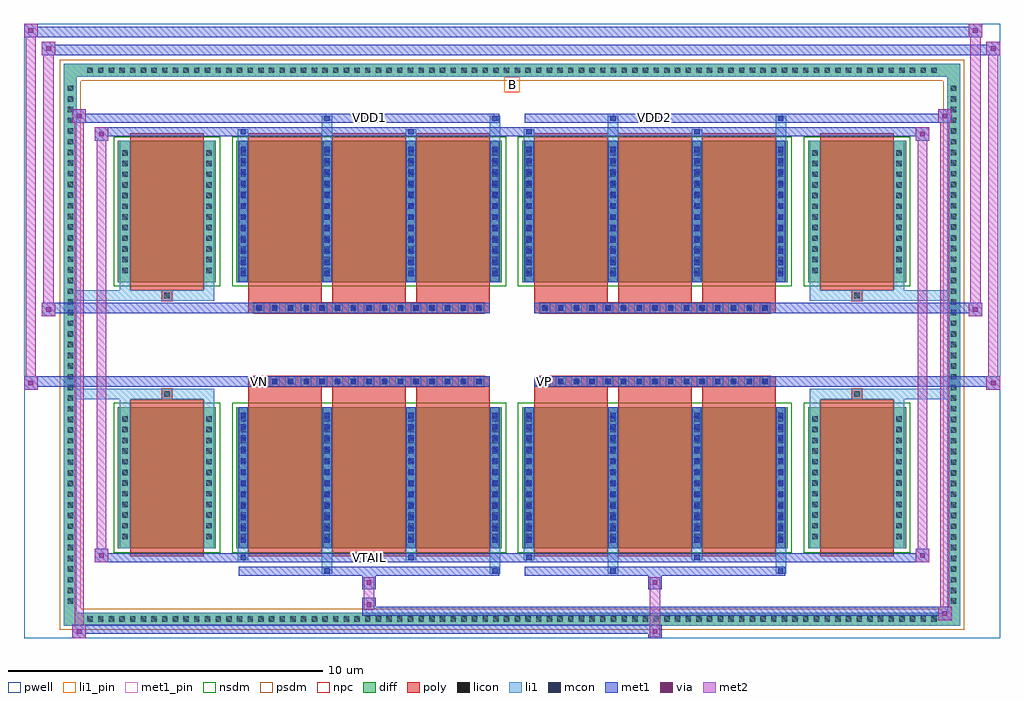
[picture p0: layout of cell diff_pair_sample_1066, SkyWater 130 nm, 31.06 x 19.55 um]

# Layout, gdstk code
import gdstk
lib = gdstk.Library(unit=1e-6, precision=5e-09)
def R(c, l, rs):  # rectangles x0, y0, x1, y1
    for r in rs: c.add(gdstk.rectangle(r[:2], r[2:], *l))
def A(c, l, x, y, w, h, nx, ny, dx, dy):  # array of equal rectangles
    R(c, l, [(x+i*dx, y+j*dy, x+i*dx+w, y+j*dy+h) for i in range(nx) for j in range(ny)])
def P(c, l, *ps):  # polygons
    for p in ps: c.add(gdstk.Polygon(p, *l))
pwell = (64, 44)
diff = (65, 20)
poly = (66, 20)
licon = (66, 44)
li1_pin = (67, 16)
li1 = (67, 20)
mcon = (67, 44)
met1_pin = (68, 16)
met1 = (68, 20)
via = (68, 44)
met2 = (69, 20)
nsdm = (93, 44)
psdm = (94, 20)
npc = (95, 20)

diff_pair_sample_1066 = lib.new_cell('diff_pair_sample_1066')
R(diff_pair_sample_1066, pwell, [(-15.53,-9.34,15.53,10.21), (-12.85,-7.53,-0.01,-0.805), (0.01,-7.53,12.85,-0.805), (-12.85,0.805,-0.01,7.53), (0.01,0.805,12.85,7.53)])
A(diff_pair_sample_1066, diff, -13.635, -8.94, 0.41, 0.41, 80, 2, 0.34, 17.47)
A(diff_pair_sample_1066, diff, -14.26, -8.365, 0.41, 0.41, 1, 49, 0, 0.34)
A(diff_pair_sample_1066, diff, 13.85, -8.365, 0.41, 0.41, 1, 49, 0, 0.34)
R(diff_pair_sample_1066, diff, [(-13.635,-8.94,13.635,-8.53), (-14.26,-8.365,-13.85,8.365), (13.85,-8.365,14.26,8.365), (-12.54,-6.485,-9.42,-1.985), (-8.78,-6.485,-0.32,-1.985), (0.32,-6.485,8.78,-1.985), (9.42,-6.485,12.54,-1.985), (-12.54,1.985,-9.42,6.485), (-8.78,1.985,-0.32,6.485), (0.32,1.985,8.78,6.485), (9.42,1.985,12.54,6.485), (-13.635,8.53,13.635,8.94)])
P(diff_pair_sample_1066, diff, [(14.26,8.94),(-14.26,8.94),(-14.26,-8.53),(-13.85,-8.53),(-13.85,8.53),(13.85,8.53),(13.85,-8.53),(-13.85,-8.53),(-14.26,-8.53),(-14.26,-8.94),(14.26,-8.94)])
A(diff_pair_sample_1066, poly, -8.39, -6.735, 2.34, 5, 3, 2, 2.67, 8.47)
A(diff_pair_sample_1066, poly, 0.71, -6.735, 2.34, 5, 3, 2, 2.67, 8.47)
A(diff_pair_sample_1066, poly, -8.39, -1.735, 2.34, 0.4, 3, 2, 2.67, 3.07)
A(diff_pair_sample_1066, poly, 0.71, -1.735, 2.34, 0.4, 3, 2, 2.67, 3.07)
A(diff_pair_sample_1066, poly, -8.215, -1.335, 0.33, 0.33, 15, 2, 0.5, 2.34)
A(diff_pair_sample_1066, poly, 0.885, -1.335, 0.33, 0.33, 15, 2, 0.5, 2.34)
R(diff_pair_sample_1066, poly, [(-12.15,-6.735,-9.81,-1.735), (9.81,-6.735,12.15,-1.735), (-11.145,-1.735,-10.815,-1.405), (-11.145,-1.735,-10.815,-1.405), (10.815,-1.735,11.145,-1.405), (10.815,-1.735,11.145,-1.405), (-8.39,-1.335,-0.71,-1.005), (0.71,-1.335,8.39,-1.005), (-8.39,1.005,-0.71,1.335), (0.71,1.005,8.39,1.335), (-11.145,1.405,-10.815,1.735), (-11.145,1.405,-10.815,1.735), (10.815,1.405,11.145,1.735), (10.815,1.405,11.145,1.735), (-12.15,1.735,-9.81,6.735), (9.81,1.735,12.15,6.735)])
A(diff_pair_sample_1066, licon, -13.515, -8.82, 0.17, 0.17, 80, 2, 0.34, 17.47)
A(diff_pair_sample_1066, licon, -14.14, -8.245, 0.17, 0.17, 1, 49, 0, 0.34)
A(diff_pair_sample_1066, licon, 13.97, -8.245, 0.17, 0.17, 1, 49, 0, 0.34)
A(diff_pair_sample_1066, licon, -12.4, -6.19, 0.17, 0.17, 1, 12, 0, 0.34)
A(diff_pair_sample_1066, licon, -9.73, -6.19, 0.17, 0.17, 1, 12, 0, 0.34)
A(diff_pair_sample_1066, licon, -8.64, -6.19, 0.17, 0.17, 4, 12, 2.67, 0.34)
A(diff_pair_sample_1066, licon, 0.46, -6.19, 0.17, 0.17, 4, 12, 2.67, 0.34)
A(diff_pair_sample_1066, licon, 9.56, -6.19, 0.17, 0.17, 1, 12, 0, 0.34)
A(diff_pair_sample_1066, licon, 12.23, -6.19, 0.17, 0.17, 1, 12, 0, 0.34)
A(diff_pair_sample_1066, licon, -8.135, -1.255, 0.17, 0.17, 15, 2, 0.5, 2.34)
A(diff_pair_sample_1066, licon, 0.965, -1.255, 0.17, 0.17, 15, 2, 0.5, 2.34)
A(diff_pair_sample_1066, licon, -12.4, 2.28, 0.17, 0.17, 1, 12, 0, 0.34)
A(diff_pair_sample_1066, licon, -9.73, 2.28, 0.17, 0.17, 1, 12, 0, 0.34)
A(diff_pair_sample_1066, licon, -8.64, 2.28, 0.17, 0.17, 4, 12, 2.67, 0.34)
A(diff_pair_sample_1066, licon, 0.46, 2.28, 0.17, 0.17, 4, 12, 2.67, 0.34)
A(diff_pair_sample_1066, licon, 9.56, 2.28, 0.17, 0.17, 1, 12, 0, 0.34)
A(diff_pair_sample_1066, licon, 12.23, 2.28, 0.17, 0.17, 1, 12, 0, 0.34)
R(diff_pair_sample_1066, licon, [(-11.065,-1.655,-10.895,-1.485), (10.895,-1.655,11.065,-1.485), (-11.065,1.485,-10.895,1.655), (10.895,1.485,11.065,1.655)])
R(diff_pair_sample_1066, li1_pin, [(-0.25,8.03,0.25,8.53)])
A(diff_pair_sample_1066, li1, -13.595, -8.9, 0.33, 0.33, 80, 2, 0.34, 17.47)
A(diff_pair_sample_1066, li1, -14.22, -8.325, 0.33, 0.33, 1, 49, 0, 0.34)
A(diff_pair_sample_1066, li1, 13.89, -8.325, 0.33, 0.33, 1, 49, 0, 0.34)
A(diff_pair_sample_1066, li1, -8.72, -6.485, 0.33, 4.5, 4, 2, 2.67, 8.47)
A(diff_pair_sample_1066, li1, 0.38, -6.485, 0.33, 4.5, 4, 2, 2.67, 8.47)
A(diff_pair_sample_1066, li1, -8.64, -6.3, 0.17, 0.17, 4, 12, 2.67, 0.36)
A(diff_pair_sample_1066, li1, -8.64, -6.3, 0.17, 4.13, 4, 2, 2.67, 8.47)
A(diff_pair_sample_1066, li1, 0.46, -6.3, 0.17, 0.17, 4, 12, 2.67, 0.36)
A(diff_pair_sample_1066, li1, 0.46, -6.3, 0.17, 4.13, 4, 2, 2.67, 8.47)
A(diff_pair_sample_1066, li1, -12.48, -6.27, 0.33, 0.33, 1, 12, 0, 0.34)
A(diff_pair_sample_1066, li1, -9.81, -6.27, 0.33, 0.33, 1, 12, 0, 0.34)
A(diff_pair_sample_1066, li1, -8.72, -6.27, 0.33, 0.33, 4, 12, 2.67, 0.34)
A(diff_pair_sample_1066, li1, 0.38, -6.27, 0.33, 0.33, 4, 12, 2.67, 0.34)
A(diff_pair_sample_1066, li1, 9.48, -6.27, 0.33, 0.33, 1, 12, 0, 0.34)
A(diff_pair_sample_1066, li1, 12.15, -6.27, 0.33, 0.33, 1, 12, 0, 0.34)
A(diff_pair_sample_1066, li1, -8.215, -1.335, 0.33, 0.33, 15, 2, 0.5, 2.34)
A(diff_pair_sample_1066, li1, 0.885, -1.335, 0.33, 0.33, 15, 2, 0.5, 2.34)
A(diff_pair_sample_1066, li1, -8.64, 2.17, 0.17, 0.17, 4, 12, 2.67, 0.36)
A(diff_pair_sample_1066, li1, 0.46, 2.17, 0.17, 0.17, 4, 12, 2.67, 0.36)
A(diff_pair_sample_1066, li1, -12.48, 2.2, 0.33, 0.33, 1, 12, 0, 0.34)
A(diff_pair_sample_1066, li1, -9.81, 2.2, 0.33, 0.33, 1, 12, 0, 0.34)
A(diff_pair_sample_1066, li1, -8.72, 2.2, 0.33, 0.33, 4, 12, 2.67, 0.34)
A(diff_pair_sample_1066, li1, 0.38, 2.2, 0.33, 0.33, 4, 12, 2.67, 0.34)
A(diff_pair_sample_1066, li1, 9.48, 2.2, 0.33, 0.33, 1, 12, 0, 0.34)
A(diff_pair_sample_1066, li1, 12.15, 2.2, 0.33, 0.33, 1, 12, 0, 0.34)
R(diff_pair_sample_1066, li1, [(-14.26,-8.94,-13.85,-8.53), (-14.26,-8.94,-13.85,-8.53), (-13.85,-8.94,13.85,-8.53), (13.85,-8.94,14.26,-8.53), (13.85,-8.94,14.26,-8.53), (-14.26,-8.53,-13.85,8.53), (13.85,-8.53,14.26,8.53), (-6.05,-7.29,-5.72,-6.485), (-5.97,-7.29,-5.8,-7.12), (-0.71,-7.29,-0.38,-6.485), (-0.63,-7.29,-0.46,-7.12), (3.05,-7.29,3.38,-6.485), (3.13,-7.29,3.3,-7.12), (8.39,-7.29,8.72,-6.485), (8.47,-7.29,8.64,-7.12), (-8.72,-6.86,-8.39,-6.485), (-8.64,-6.86,-8.47,-6.69), (-3.38,-6.86,-3.05,-6.485), (-3.3,-6.86,-3.13,-6.69), (0.38,-6.86,0.71,-6.485), (0.46,-6.86,0.63,-6.69), (5.72,-6.86,6.05,-6.485), (5.8,-6.86,5.97,-6.69), (-12.48,-6.485,-12.15,-1.985), (-9.81,-6.485,-9.48,-1.985), (9.48,-6.485,9.81,-1.985), (12.15,-6.485,12.48,-1.985), (-12.48,-1.985,-12.15,-1.405), (-9.81,-1.985,-9.48,-1.405), (9.48,-1.985,9.81,-1.405), (12.15,-1.985,12.48,-1.405), (-14.26,-1.735,-11.145,-1.405), (-12.48,-1.735,-11.145,-1.405), (-11.145,-1.735,-10.815,-1.405), (-10.815,-1.735,-9.48,-1.405), (9.48,-1.735,10.815,-1.405), (10.815,-1.735,11.145,-1.405), (10.815,-1.735,14.26,-1.405), (11.145,-1.735,12.48,-1.405), (-14.26,1.405,-11.145,1.735), (-12.48,1.405,-11.145,1.735), (-12.48,1.405,-12.15,1.985), (-11.145,1.405,-10.815,1.735), (-10.815,1.405,-9.48,1.735), (-9.81,1.405,-9.48,1.985), (9.48,1.405,10.815,1.735), (9.48,1.405,9.81,1.985), (10.815,1.405,11.145,1.735), (10.815,1.405,14.26,1.735), (11.145,1.405,12.48,1.735), (12.15,1.405,12.48,1.985), (-12.48,1.985,-12.15,6.485), (-9.81,1.985,-9.48,6.485), (9.48,1.985,9.81,6.485), (12.15,1.985,12.48,6.485), (-8.72,6.485,-8.39,6.86), (-6.05,6.485,-5.72,7.29), (-3.38,6.485,-3.05,6.86), (-0.71,6.485,-0.38,7.29), (0.38,6.485,0.71,6.86), (3.05,6.485,3.38,7.29), (5.72,6.485,6.05,6.86), (8.39,6.485,8.72,7.29), (-8.64,6.69,-8.47,6.86), (-3.3,6.69,-3.13,6.86), (0.46,6.69,0.63,6.86), (5.8,6.69,5.97,6.86), (-5.97,7.12,-5.8,7.29), (-0.63,7.12,-0.46,7.29), (3.13,7.12,3.3,7.29), (8.47,7.12,8.64,7.29), (-14.26,8.53,-13.85,8.94), (-14.26,8.53,-13.85,8.94), (-13.85,8.53,13.85,8.94), (13.85,8.53,14.26,8.94), (13.85,8.53,14.26,8.94)])
A(diff_pair_sample_1066, mcon, -8.64, -6.3, 0.17, 0.17, 4, 12, 2.67, 0.36)
A(diff_pair_sample_1066, mcon, 0.46, -6.3, 0.17, 0.17, 4, 12, 2.67, 0.36)
A(diff_pair_sample_1066, mcon, -8.135, -1.255, 0.17, 0.17, 15, 2, 0.5, 2.34)
A(diff_pair_sample_1066, mcon, 0.965, -1.255, 0.17, 0.17, 15, 2, 0.5, 2.34)
A(diff_pair_sample_1066, mcon, -8.64, 2.17, 0.17, 0.17, 4, 12, 2.67, 0.36)
A(diff_pair_sample_1066, mcon, 0.46, 2.17, 0.17, 0.17, 4, 12, 2.67, 0.36)
R(diff_pair_sample_1066, mcon, [(-5.97,-7.29,-5.8,-7.12), (-0.63,-7.29,-0.46,-7.12), (3.13,-7.29,3.3,-7.12), (8.47,-7.29,8.64,-7.12), (-8.64,-6.86,-8.47,-6.69), (-3.3,-6.86,-3.13,-6.69), (0.46,-6.86,0.63,-6.69), (5.8,-6.86,5.97,-6.69), (-8.64,6.69,-8.47,6.86), (-3.3,6.69,-3.13,6.86), (0.46,6.69,0.63,6.86), (5.8,6.69,5.97,6.86), (-5.97,7.12,-5.8,7.29), (-0.63,7.12,-0.46,7.29), (3.13,7.12,3.3,7.29), (8.47,7.12,8.64,7.29)])
R(diff_pair_sample_1066, met1_pin, [(-4.685,-6.9,-4.415,-6.63), (-8.185,-1.295,-7.915,-1.025), (0.915,-1.295,1.185,-1.025), (-4.685,7.08,-4.415,7.35), (4.415,7.08,4.685,7.35)])
A(diff_pair_sample_1066, met1, -8.7, -6.485, 0.29, 4.5, 4, 2, 2.67, 8.47)
A(diff_pair_sample_1066, met1, 0.4, -6.485, 0.29, 4.5, 4, 2, 2.67, 8.47)
A(diff_pair_sample_1066, met1, -8.7, -6.36, 0.29, 0.29, 4, 12, 2.67, 0.36)
A(diff_pair_sample_1066, met1, 0.4, -6.36, 0.29, 0.29, 4, 12, 2.67, 0.36)
A(diff_pair_sample_1066, met1, -8.195, -1.315, 0.29, 0.29, 15, 2, 0.5, 2.34)
A(diff_pair_sample_1066, met1, 0.905, -1.315, 0.29, 0.29, 15, 2, 0.5, 2.34)
A(diff_pair_sample_1066, met1, -8.7, 2.11, 0.29, 0.29, 4, 12, 2.67, 0.36)
A(diff_pair_sample_1066, met1, 0.4, 2.11, 0.29, 0.29, 4, 12, 2.67, 0.36)
R(diff_pair_sample_1066, met1, [(-13.99,-9.34,-13.56,-8.91), (4.335,-9.34,4.765,-8.91), (-13.99,-9.2,4.765,-8.91), (13.56,-8.77,13.99,-8.34), (-4.765,-8.63,13.99,-8.34), (-4.765,-8.49,-4.335,-8.06), (-4.765,-7.78,-4.335,-7.35), (4.335,-7.78,4.765,-7.35), (-8.7,-7.35,-0.4,-7.06), (-6.03,-7.35,-5.74,-7.06), (-0.69,-7.35,-0.4,-7.06), (0.4,-7.35,8.7,-7.06), (3.07,-7.35,3.36,-7.06), (8.41,-7.35,8.7,-7.06), (-13.28,-6.92,-12.85,-6.49), (-13.28,-6.92,-8.7,-6.63), (-8.7,-6.92,-8.41,-6.63), (-8.7,-6.92,-0.4,-6.63), (-3.36,-6.92,-3.07,-6.63), (-0.4,-6.92,0.4,-6.63), (0.4,-6.92,0.69,-6.63), (0.4,-6.92,8.7,-6.63), (5.74,-6.92,6.03,-6.63), (8.7,-6.92,13.28,-6.63), (12.85,-6.92,13.28,-6.49), (-15.53,-1.435,-15.1,-1.005), (15.1,-1.435,15.53,-1.005), (-15.53,-1.335,-0.71,-1.005), (-8.39,-1.335,-0.71,-1.005), (0.71,-1.335,8.39,-1.005), (0.71,-1.335,15.53,-1.005), (-14.96,0.905,-14.53,1.335), (14.53,0.905,14.96,1.335), (-14.96,1.005,-8.39,1.335), (-8.39,1.005,-0.71,1.335), (0.71,1.005,8.39,1.335), (8.39,1.005,14.96,1.335), (-13.28,6.49,-12.85,6.92), (12.85,6.49,13.28,6.92), (-13.28,6.63,-8.7,6.92), (-8.7,6.63,-8.41,6.92), (-8.7,6.63,-0.4,6.92), (-3.36,6.63,-3.07,6.92), (-0.4,6.63,0.4,6.92), (0.4,6.63,0.69,6.92), (0.4,6.63,8.7,6.92), (5.74,6.63,6.03,6.92), (8.7,6.63,13.28,6.92), (-13.99,7.06,-13.56,7.49), (-13.99,7.06,-8.7,7.35), (-8.7,7.06,-0.4,7.35), (-6.03,7.06,-5.74,7.35), (-0.69,7.06,-0.4,7.35), (0.4,7.06,8.7,7.35), (3.07,7.06,3.36,7.35), (8.41,7.06,8.7,7.35), (8.7,7.06,13.99,7.35), (13.56,7.06,13.99,7.49), (-14.96,9.21,-14.53,9.64), (-14.96,9.21,-12.85,9.54), (-12.85,9.21,12.85,9.54), (12.85,9.21,15.53,9.54), (15.1,9.21,15.53,9.64), (-15.53,9.78,-15.1,10.21), (-15.53,9.78,-12.85,10.11), (-12.85,9.78,12.85,10.11), (12.85,9.78,14.96,10.11), (14.53,9.78,14.96,10.21)])
R(diff_pair_sample_1066, via, [(-13.85,-9.2,-13.7,-9.05), (4.475,-9.2,4.625,-9.05), (13.7,-8.63,13.85,-8.48), (-4.625,-8.35,-4.475,-8.2), (-4.625,-7.64,-4.475,-7.49), (4.475,-7.64,4.625,-7.49), (-13.14,-6.78,-12.99,-6.63), (12.99,-6.78,13.14,-6.63), (-15.39,-1.295,-15.24,-1.145), (15.24,-1.295,15.39,-1.145), (-14.82,1.045,-14.67,1.195), (14.67,1.045,14.82,1.195), (-13.14,6.63,-12.99,6.78), (12.99,6.63,13.14,6.78), (-13.85,7.2,-13.7,7.35), (13.7,7.2,13.85,7.35), (-14.82,9.35,-14.67,9.5), (15.24,9.35,15.39,9.5), (-15.39,9.92,-15.24,10.07), (14.67,9.92,14.82,10.07)])
R(diff_pair_sample_1066, met2, [(-13.99,-9.34,-13.56,-8.91), (-13.92,-9.34,-13.63,7.49), (-13.63,-9.34,-13.56,-8.91), (-13.94,-9.29,-13.61,-8.96), (4.385,-9.29,4.715,-8.96), (4.385,-8.96,4.715,-7.73), (13.56,-8.77,13.99,-8.34), (13.63,-8.77,13.92,7.49), (13.92,-8.77,13.99,-8.34), (13.61,-8.72,13.94,-8.39), (-4.715,-8.44,-4.385,-8.11), (-4.715,-8.11,-4.385,-7.73), (-4.715,-7.73,-4.385,-7.4), (4.385,-7.73,4.715,-7.4), (-13.28,-6.92,-12.85,-6.49), (-13.21,-6.92,-12.92,6.92), (-12.92,-6.92,-12.85,-6.49), (12.85,-6.92,13.28,-6.49), (12.92,-6.92,13.21,6.92), (13.21,-6.92,13.28,-6.49), (-13.23,-6.87,-12.9,-6.54), (12.9,-6.87,13.23,-6.54), (-15.53,-1.435,-15.1,-1.005), (-15.48,-1.435,-15.15,10.21), (-15.15,-1.435,-15.1,-1.005), (15.1,-1.435,15.53,-1.005), (15.15,-1.435,15.48,9.64), (15.48,-1.435,15.53,-1.005), (-15.48,-1.385,-15.15,-1.055), (15.15,-1.385,15.48,-1.055), (-14.96,0.905,-14.53,1.335), (-14.91,0.905,-14.58,9.64), (-14.58,0.905,-14.53,1.335), (14.53,0.905,14.96,1.335), (14.58,0.905,14.91,10.21), (14.91,0.905,14.96,1.335), (-14.91,0.955,-14.58,1.285), (14.58,0.955,14.91,1.285), (-13.28,6.49,-12.85,6.92), (-12.92,6.49,-12.85,6.92), (12.85,6.49,13.28,6.92), (13.21,6.49,13.28,6.92), (-13.23,6.54,-12.9,6.87), (12.9,6.54,13.23,6.87), (-13.99,7.06,-13.56,7.49), (-13.63,7.06,-13.56,7.49), (13.56,7.06,13.99,7.49), (13.92,7.06,13.99,7.49), (-13.94,7.11,-13.61,7.44), (13.61,7.11,13.94,7.44), (-14.96,9.21,-14.53,9.64), (-14.58,9.21,-14.53,9.64), (15.1,9.21,15.53,9.64), (15.48,9.21,15.53,9.64), (-14.91,9.26,-14.58,9.59), (15.15,9.26,15.48,9.59), (-15.53,9.78,-15.1,10.21), (-15.15,9.78,-15.1,10.21), (14.53,9.78,14.96,10.21), (14.91,9.78,14.96,10.21), (-15.48,9.83,-15.15,10.16), (14.58,9.83,14.91,10.16)])
R(diff_pair_sample_1066, nsdm, [(-12.67,-6.615,-9.29,-1.855), (-8.91,-6.615,-0.19,-1.855), (0.19,-6.615,8.91,-1.855), (9.29,-6.615,12.67,-1.855), (-12.67,1.855,-9.29,6.615), (-8.91,1.855,-0.19,6.615), (0.19,1.855,8.91,6.615), (9.29,1.855,12.67,6.615)])
P(diff_pair_sample_1066, psdm, [(14.39,9.07),(-14.39,9.07),(-14.39,-8.4),(-13.72,-8.4),(-13.72,8.4),(13.72,8.4),(13.72,-8.4),(-13.72,-8.4),(-14.39,-8.4),(-14.39,-9.07),(14.39,-9.07)])
A(diff_pair_sample_1066, npc, -8.235, -1.355, 0.37, 0.37, 15, 2, 0.5, 2.34)
A(diff_pair_sample_1066, npc, 0.865, -1.355, 0.37, 0.37, 15, 2, 0.5, 2.34)
R(diff_pair_sample_1066, npc, [(-11.165,-1.755,-10.795,-1.385), (10.795,-1.755,11.165,-1.385), (-8.235,-1.355,-7.365,-0.985), (-8.235,-1.355,-7.365,-0.985), (-7.735,-1.355,-6.865,-0.985), (-7.735,-1.355,-6.865,-0.985), (-7.235,-1.355,-6.365,-0.985), (-7.235,-1.355,-6.365,-0.985), (-6.735,-1.355,-5.865,-0.985), (-6.735,-1.355,-5.865,-0.985), (-6.235,-1.355,-5.365,-0.985), (-6.235,-1.355,-5.365,-0.985), (-5.735,-1.355,-4.865,-0.985), (-5.735,-1.355,-4.865,-0.985), (-5.235,-1.355,-4.365,-0.985), (-5.235,-1.355,-4.365,-0.985), (-4.735,-1.355,-3.865,-0.985), (-4.735,-1.355,-3.865,-0.985), (-4.235,-1.355,-3.365,-0.985), (-4.235,-1.355,-3.365,-0.985), (-3.735,-1.355,-2.865,-0.985), (-3.735,-1.355,-2.865,-0.985), (-3.235,-1.355,-2.365,-0.985), (-3.235,-1.355,-2.365,-0.985), (-2.735,-1.355,-1.865,-0.985), (-2.735,-1.355,-1.865,-0.985), (-2.235,-1.355,-1.365,-0.985), (-2.235,-1.355,-1.365,-0.985), (-1.735,-1.355,-0.865,-0.985), (-1.735,-1.355,-0.865,-0.985), (0.865,-1.355,1.735,-0.985), (0.865,-1.355,1.735,-0.985), (1.365,-1.355,2.235,-0.985), (1.365,-1.355,2.235,-0.985), (1.865,-1.355,2.735,-0.985), (1.865,-1.355,2.735,-0.985), (2.365,-1.355,3.235,-0.985), (2.365,-1.355,3.235,-0.985), (2.865,-1.355,3.735,-0.985), (2.865,-1.355,3.735,-0.985), (3.365,-1.355,4.235,-0.985), (3.365,-1.355,4.235,-0.985), (3.865,-1.355,4.735,-0.985), (3.865,-1.355,4.735,-0.985), (4.365,-1.355,5.235,-0.985), (4.365,-1.355,5.235,-0.985), (4.865,-1.355,5.735,-0.985), (4.865,-1.355,5.735,-0.985), (5.365,-1.355,6.235,-0.985), (5.365,-1.355,6.235,-0.985), (5.865,-1.355,6.735,-0.985), (5.865,-1.355,6.735,-0.985), (6.365,-1.355,7.235,-0.985), (6.365,-1.355,7.235,-0.985), (6.865,-1.355,7.735,-0.985), (6.865,-1.355,7.735,-0.985), (7.365,-1.355,8.235,-0.985), (7.365,-1.355,8.235,-0.985), (-8.235,0.985,-7.365,1.355), (-8.235,0.985,-7.365,1.355), (-7.735,0.985,-6.865,1.355), (-7.735,0.985,-6.865,1.355), (-7.235,0.985,-6.365,1.355), (-7.235,0.985,-6.365,1.355), (-6.735,0.985,-5.865,1.355), (-6.735,0.985,-5.865,1.355), (-6.235,0.985,-5.365,1.355), (-6.235,0.985,-5.365,1.355), (-5.735,0.985,-4.865,1.355), (-5.735,0.985,-4.865,1.355), (-5.235,0.985,-4.365,1.355), (-5.235,0.985,-4.365,1.355), (-4.735,0.985,-3.865,1.355), (-4.735,0.985,-3.865,1.355), (-4.235,0.985,-3.365,1.355), (-4.235,0.985,-3.365,1.355), (-3.735,0.985,-2.865,1.355), (-3.735,0.985,-2.865,1.355), (-3.235,0.985,-2.365,1.355), (-3.235,0.985,-2.365,1.355), (-2.735,0.985,-1.865,1.355), (-2.735,0.985,-1.865,1.355), (-2.235,0.985,-1.365,1.355), (-2.235,0.985,-1.365,1.355), (-1.735,0.985,-0.865,1.355), (-1.735,0.985,-0.865,1.355), (0.865,0.985,1.735,1.355), (0.865,0.985,1.735,1.355), (1.365,0.985,2.235,1.355), (1.365,0.985,2.235,1.355), (1.865,0.985,2.735,1.355), (1.865,0.985,2.735,1.355), (2.365,0.985,3.235,1.355), (2.365,0.985,3.235,1.355), (2.865,0.985,3.735,1.355), (2.865,0.985,3.735,1.355), (3.365,0.985,4.235,1.355), (3.365,0.985,4.235,1.355), (3.865,0.985,4.735,1.355), (3.865,0.985,4.735,1.355), (4.365,0.985,5.235,1.355), (4.365,0.985,5.235,1.355), (4.865,0.985,5.735,1.355), (4.865,0.985,5.735,1.355), (5.365,0.985,6.235,1.355), (5.365,0.985,6.235,1.355), (5.865,0.985,6.735,1.355), (5.865,0.985,6.735,1.355), (6.365,0.985,7.235,1.355), (6.365,0.985,7.235,1.355), (6.865,0.985,7.735,1.355), (6.865,0.985,7.735,1.355), (7.365,0.985,8.235,1.355), (7.365,0.985,8.235,1.355), (-11.165,1.385,-10.795,1.755), (10.795,1.385,11.165,1.755)])
diff_pair_sample_1066.add(gdstk.Label('VTAIL', (-4.55,-6.765), layer=68, texttype=5))
diff_pair_sample_1066.add(gdstk.Label('VN', (-8.05,-1.16), layer=68, texttype=5))
diff_pair_sample_1066.add(gdstk.Label('VP', (1.05,-1.16), layer=68, texttype=5))
diff_pair_sample_1066.add(gdstk.Label('B', (0,8.28), layer=67, texttype=5))
diff_pair_sample_1066.add(gdstk.Label('VDD2', (4.55,7.215), layer=68, texttype=5))
diff_pair_sample_1066.add(gdstk.Label('VDD1', (-4.55,7.215), layer=68, texttype=5))

lib.write_gds('diff_pair_sample_1066.gds')
